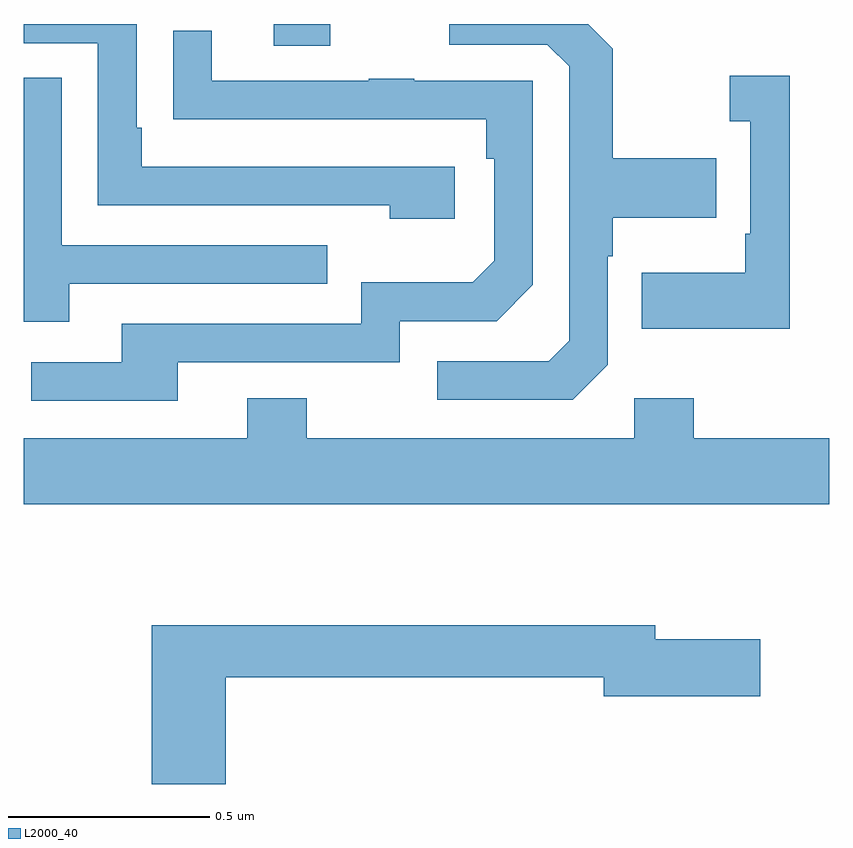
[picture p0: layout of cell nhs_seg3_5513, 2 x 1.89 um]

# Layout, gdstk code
import gdstk
lib = gdstk.Library(unit=1e-6, precision=1e-09)
def R(c, l, rs):  # rectangles x0, y0, x1, y1
    for r in rs: c.add(gdstk.rectangle(r[:2], r[2:], *l))
def P(c, l, *ps):  # polygons
    for p in ps: c.add(gdstk.Polygon(p, *l))
L2000_40 = (2000, 40)

nhs_seg3_5513 = lib.new_cell('nhs_seg3_5513')
R(nhs_seg3_5513, L2000_40, [(179.621,743.346,179.761,743.4)])
P(nhs_seg3_5513, L2000_40, [(180.45,742.554),(180.45,742.823),(180.463,742.823),(180.463,742.919),(180.719,742.919),(180.719,743.067),(180.463,743.067),(180.463,743.339),(180.402,743.4),(180.057,743.4),(180.057,743.349),(180.3,743.349),(180.354,743.295),(180.354,742.614),(180.303,742.563),(180.027,742.563),(180.027,742.467),(180.363,742.467)],
  [(180.07,743.046),(179.293,743.046),(179.293,743.143),(179.28,743.143),(179.28,743.4),(179,743.4),(179,743.352),(179.184,743.352),(179.184,742.95),(179.909,742.95),(179.909,742.916),(180.07,742.916)],
  [(179.383,742.56),(179.934,742.56),(179.934,742.662),(180.174,742.662),(180.264,742.752),(180.264,743.259),(179.969,743.259),(179.969,743.264),(179.857,743.264),(179.857,743.259),(179.467,743.259),(179.467,743.383),(179.371,743.383),(179.371,743.164),(179.473,743.164),(179.473,743.163),(180.148,743.163),(180.148,743.066),(180.168,743.066),(180.168,742.812),(180.115,742.759),(179.838,742.759),(179.838,742.656),(179.243,742.656),(179.243,742.56),(179.019,742.56),(179.019,742.464),(179.383,742.464)],
  [(180.902,743.272),(180.753,743.272),(180.753,743.159),(180.804,743.159),(180.804,742.879),(180.792,742.879),(180.792,742.783),(180.535,742.783),(180.535,742.643),(180.902,742.643)],
  [(179.113,742.755),(179.753,742.755),(179.753,742.851),(179.094,742.851),(179.094,743.267),(179,743.267),(179,742.661),(179.113,742.661)],
  [(181,742.372),(180.663,742.372),(180.663,742.471),(180.516,742.471),(180.516,742.372),(179.703,742.372),(179.703,742.471),(179.555,742.471),(179.555,742.372),(179,742.372),(179,742.208),(181,742.208)],
  [(179.501,741.778),(180.44,741.778),(180.44,741.731),(180.829,741.731),(180.829,741.873),(180.568,741.873),(180.568,741.907),(179.318,741.907),(179.318,741.513),(179.501,741.513)])

lib.write_gds('nhs_seg3_5513.gds')
